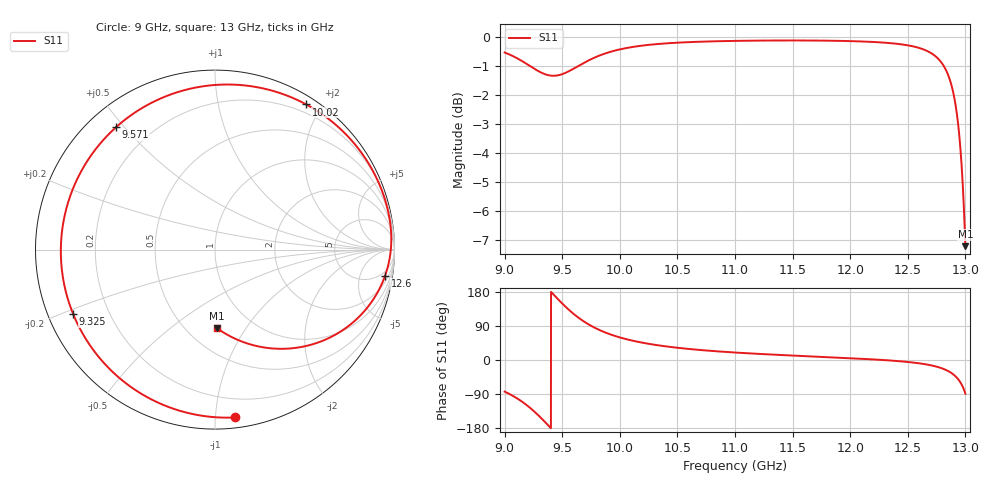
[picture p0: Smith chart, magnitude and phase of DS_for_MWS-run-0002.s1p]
! TOUCHSTONE file generated by CST DESIGN STUDIO
! Date and time: Tue Feb  4 18:40:38 2025
! Project name: C:\Work\MatlabApps\UnitCellOptimizationMatlab\CST\unitcell.cst
! Tree item: Tasks\Sweep1\SPara1\S-Parameters
! Header version: 2024
! Port assignment regex: !\s*Touchstone port\s*([0-9]+)\s*=\s*(CST MWS port|CST DES external port|CST DES block port)\s*(.+)\s* \(\"(.*)\"\)(\s*mode\s*([0-9]+))?.*
! Touchstone port assignment:
! Touchstone port 1 = CST DES external port 1 ("")
# GHz S MA R 50
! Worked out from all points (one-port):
!   4001 points, 9 GHz to 13 GHz, reference 50 ohm
!   lowest |S11| = -7.2 dB at 13 GHz (marker M1), VSWR 2.55, Z = 34.5 - j37.2 ohm
!   |S11| at or under -10 dB: nowhere
!   S11 on the Smith chart (normalised r, x): 9 GHz: 0.07, -1.12; 9.325 GHz: 0.07, -0.21; 9.571 GHz: 0.08, +0.48; 10.02 GHz: 0.10, +1.81; 12.6 GHz: 3, -12; 13 GHz: 0.69, -0.74
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9  0.9416 -83.4
9.096  0.9231 -99.0
9.176  0.9039 -115.4
9.25  0.8848 -133.9
9.325  0.8681 -155.6
9.369  0.8615 -169.4
9.411  0.8587 177.1
9.454  0.8594 163.4
9.5  0.864 149.1
9.571  0.8769 128.9
9.65  0.8949 109.7
9.738  0.9144 92.4
9.864  0.9367 73.8
10  0.9533 59.6
10.021  0.9553 57.8
10.229  0.9696 43.8
10.5  0.9791 32.3
11  0.9861 19.7
11.5  0.9878 11.7
12  0.9852 4.8
12.5  0.9689 -5.2
12.601  0.9585 -8.8
12.757  0.9215 -18.1
12.857  0.8541 -30.3
12.904  0.7862 -40.2
12.945  0.6838 -53.8
12.969  0.5937 -65.5
13  0.4362 -88.9
